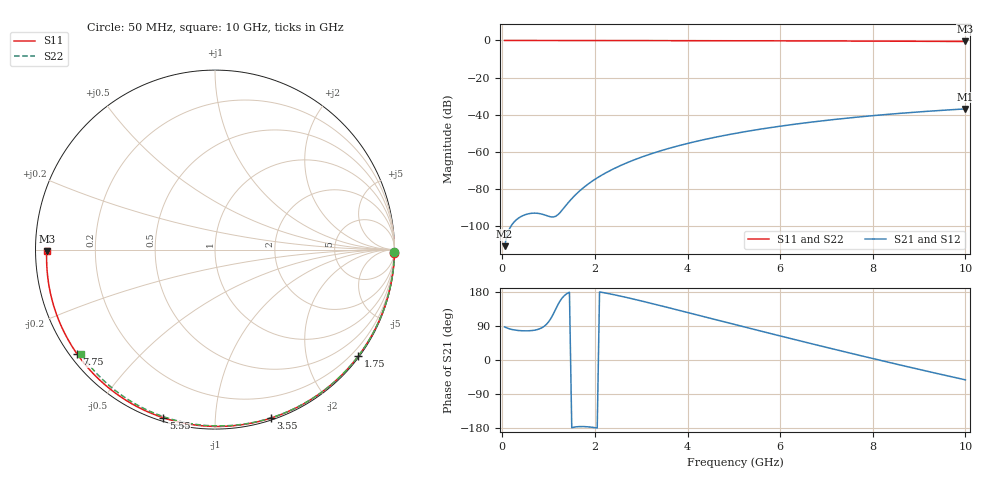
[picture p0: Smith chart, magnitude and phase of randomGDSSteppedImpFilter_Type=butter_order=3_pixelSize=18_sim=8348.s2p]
! freq	dB(S11)	phase(S11)	dB(S12)	phase(S12)
!  dB(S21)	phase(S21)	dB(S22)	phase(S22)
!S-par simulation data
#  GHz  S  DB  R 50
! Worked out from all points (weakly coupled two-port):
!   200 points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, 50 MHz to 10 GHz, reference 50 ohm
!   highest |S21| = -36.90 dB at 10 GHz (marker M1); lowest = -110.9 dB at 50 MHz (marker M2)
!   lowest |S11| = -0.6 dB at 10 GHz (marker M3), VSWR 31.05, Z = 1.61 - j0.189 ohm
!   |S11| at or under -10 dB: nowhere
!   |S22| runs from -0.5 to 0.0 dB; largest |S21 - S12| = 0
!   S11 on the Smith chart (normalised r, x): 50 MHz: open; 1.75 GHz: 0.03, -3.03; 3.55 GHz: 0.02, -1.38; 5.55 GHz: 0.02, -0.74; 7.75 GHz: 0.02, -0.33; 10 GHz: 0.03, -0.00
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0.05  -0.00 -1.1  -110.91 87.2  -110.91 87.2  -0.00 -0.8
0.45  -0.01 -9.6  -94.39 77.0  -94.39 77.0  -0.01 -7.3
0.85  -0.02 -18.0  -93.59 84.8  -93.59 84.8  -0.02 -13.8
1.25  -0.03 -26.3  -92.73 156.4  -92.73 156.4  -0.03 -20.2
1.7  -0.05 -35.5  -80.47 -175.6  -80.47 -175.6  -0.03 -27.3
1.75  -0.05 -36.6  -79.42 -175.6  -79.42 -175.6  -0.04 -28.1
1.9  -0.05 -39.6  -76.57 -177.0  -76.57 -177.0  -0.04 -30.5
2.05  -0.05 -42.6  -74.08 -179.4  -74.08 -179.4  -0.04 -32.8
2.25  -0.06 -46.6  -71.18 176.3  -71.18 176.3  -0.05 -36.0
2.45  -0.06 -50.6  -68.64 171.3  -68.64 171.3  -0.05 -39.1
2.9  -0.08 -59.4  -63.88 158.8  -63.88 158.8  -0.06 -46.0
3.4  -0.09 -68.9  -59.64 143.9  -59.64 143.9  -0.07 -53.5
3.55  -0.10 -71.7  -58.53 139.3  -58.53 139.3  -0.07 -55.7
4.3  -0.12 -85.4  -53.78 116.0  -53.78 116.0  -0.09 -66.7
5.05  -0.15 -98.6  -50.02 92.7  -50.02 92.7  -0.12 -77.3
5.55  -0.17 -107.1  -47.91 77.3  -47.91 77.3  -0.14 -84.3
6.1  -0.20 -116.3  -45.88 60.4  -45.88 60.4  -0.16 -91.7
6.7  -0.24 -126.1  -43.95 42.3  -43.95 42.3  -0.19 -99.7
7.75  -0.32 -143.0  -41.13 11.1  -41.13 11.1  -0.26 -113.3
8.35  -0.38 -152.6  -39.79 -6.3  -39.79 -6.3  -0.31 -120.9
9.2  -0.47 -166.3  -38.16 -30.4  -38.16 -30.4  -0.39 -131.7
10  -0.56 -179.6  -36.90 -52.4  -36.90 -52.4  -0.48 -142.0
